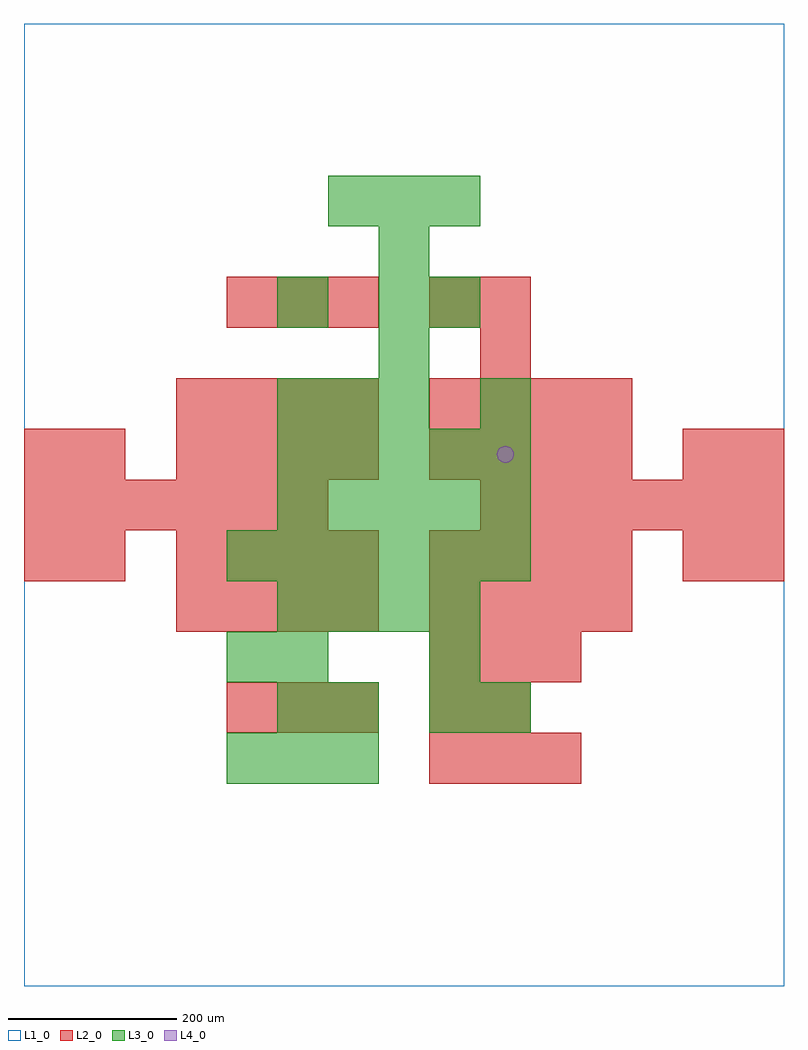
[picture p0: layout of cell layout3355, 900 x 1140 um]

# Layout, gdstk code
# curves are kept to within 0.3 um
import gdstk
lib = gdstk.Library(unit=1e-6, precision=1e-09)
def R(c, l, rs):  # rectangles x0, y0, x1, y1
    for r in rs: c.add(gdstk.rectangle(r[:2], r[2:], *l))
def A(c, l, x, y, w, h, nx, ny, dx, dy):  # array of equal rectangles
    R(c, l, [(x+i*dx, y+j*dy, x+i*dx+w, y+j*dy+h) for i in range(nx) for j in range(ny)])
def P(c, l, *ps):  # polygons
    for p in ps: c.add(gdstk.Polygon(p, *l))
L1_0 = (1, 0)
L2_0 = (2, 0)
L3_0 = (3, 0)
L4_0 = (4, 0)

layout3355 = lib.new_cell('layout3355')
R(layout3355, L1_0, [(0,0,900,1140)])
A(layout3355, L2_0, 480, 240, 60, 60, 3, 2, 60, 120)
A(layout3355, L2_0, 240, 300, 60, 60, 3, 2, 60, 480)
A(layout3355, L2_0, 180, 420, 60, 60, 4, 2, 60, 60)
A(layout3355, L2_0, 480, 420, 60, 60, 4, 2, 60, 60)
A(layout3355, L2_0, 0, 540, 60, 60, 6, 1, 60, 0)
A(layout3355, L2_0, 540, 540, 60, 60, 6, 1, 60, 0)
A(layout3355, L2_0, 180, 600, 60, 60, 4, 2, 60, 60)
A(layout3355, L2_0, 480, 600, 60, 60, 4, 2, 60, 60)
R(layout3355, L2_0, [(480,300,540,360), (540,300,600,360), (0,480,60,540), (60,480,120,540), (780,480,840,540), (840,480,900,540), (0,600,60,660), (60,600,120,660), (780,600,840,660), (840,600,900,660), (540,720,600,780), (480,780,540,840), (540,780,600,840)])
A(layout3355, L3_0, 240, 240, 60, 60, 3, 1, 60, 0)
A(layout3355, L3_0, 300, 420, 60, 60, 4, 1, 60, 0)
A(layout3355, L3_0, 240, 480, 60, 60, 6, 1, 60, 0)
A(layout3355, L3_0, 300, 540, 60, 60, 5, 2, 60, 60)
A(layout3355, L3_0, 300, 660, 60, 60, 3, 1, 60, 0)
A(layout3355, L3_0, 420, 720, 60, 60, 1, 3, 0, 60)
A(layout3355, L3_0, 360, 900, 60, 60, 3, 1, 60, 0)
R(layout3355, L3_0, [(300,300,360,360), (360,300,420,360), (480,300,540,360), (540,300,600,360), (240,360,300,420), (300,360,360,420), (480,360,540,420), (540,660,600,720), (300,780,360,840), (480,780,540,840)])
P(layout3355, L4_0, [(580,630),(579.239,633.827),(577.071,637.071),(573.827,639.239),(570,640),(566.173,639.239),(562.929,637.071),(560.761,633.827),(560,630),(560.761,626.173),(562.929,622.929),(566.173,620.761),(570,620),(573.827,620.761),(577.071,622.929),(579.239,626.173)])

lib.write_gds('layout3355.gds')
